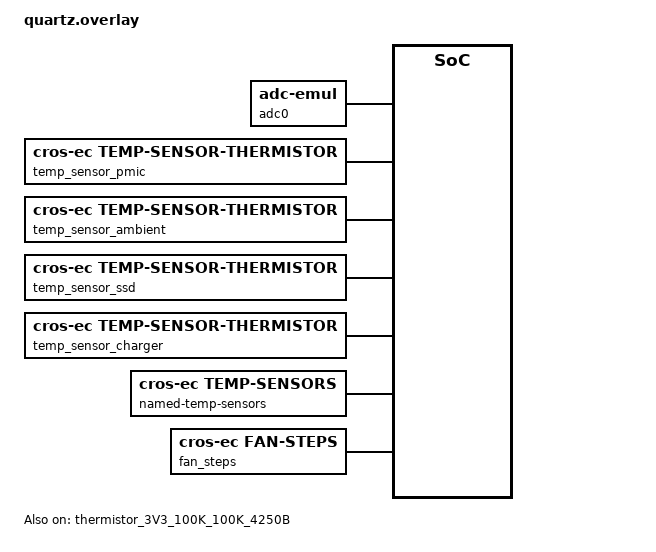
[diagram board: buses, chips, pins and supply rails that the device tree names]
/* Copyright 2026 The ChromiumOS Authors
 * Use of this source code is governed by a BSD-style license that can be
 * found in the LICENSE file.
 */

#include <board-overlays/native_sim.dts>
#include <cros/thermistor/thermistor.dtsi>
#include <dt-bindings/gpio_defines.h>

/ {
	named-gpios {
		compatible = "named-gpios";

		gpio_ec_en_pp5000_s5: ec_en_pp5000_s5 {
			gpios = <&gpio0 0 (GPIO_OUTPUT | GPIO_INPUT)>;
		};
		gpio_haptic_en_ec: haptic_en_ec {
			gpios = <&gpio0 1 (GPIO_OUTPUT | GPIO_INPUT)>;
		};
		gpio_tpad_en: tpad_en {
			gpios = <&gpio0 2 (GPIO_OUTPUT | GPIO_INPUT)>;
		};
		gpio_bl_off_odl: bl_off_odl {
			gpios = <&gpio0 3 (GPIO_OUTPUT | GPIO_INPUT)>;
		};
		gpio_ec_en_pp5000_fan: ec_en_pp5000_fan {
			gpios = <&gpio0 4 (GPIO_OUTPUT | GPIO_INPUT)>;
		};
		gpio_ec_enavdd_oled: ec_enavdd_oled {
			gpios = <&gpio0 5 (GPIO_OUTPUT | GPIO_INPUT)>;
		};
		gpio_sys_throttle_mira: sys_throttle_mira {
			gpios = <&gpio0 6 (GPIO_OUTPUT | GPIO_INPUT)>;
		};
		gpio_ec_en_pp3300_s3: ec_en_pp3300_s3 {
			gpios = <&gpio0 7 (GPIO_OUTPUT | GPIO_INPUT)>;
		};
		gpio_pp1800_l1i_s3_ec: pp1800_l1i_s3_ec {
			gpios = <&gpio0 8 (GPIO_OUTPUT | GPIO_INPUT)>;
		};
		gpio_smb2360_a_chg_led_pg_odl: smb2360_a_chg_led_pg_odl {
			gpios = <&gpio0 9 (GPIO_INPUT | GPIO_ACTIVE_LOW)>;
		};
		gpio_smb2360_b_chg_led_pg_odl: smb2360_b_chg_led_pg_odl {
			gpios = <&gpio0 10 (GPIO_INPUT | GPIO_ACTIVE_LOW)>;
		};
	};

	gpio-interrupts {
		compatible = "cros-ec,gpio-interrupts";

		int_s3_power_monitor: s3_power_monitor {
			irq-pin = <&gpio_pp1800_l1i_s3_ec>;
			flags = <GPIO_INT_EDGE_BOTH>;
			handler = "s3_power_interrupt";
		};
		int_extpower_a: extpower_a {
			irq-pin = <&gpio_smb2360_a_chg_led_pg_odl>;
			flags = <GPIO_INT_EDGE_BOTH>;
			handler = "extpower_interrupt";
		};
		int_extpower_b: extpower_b {
			irq-pin = <&gpio_smb2360_b_chg_led_pg_odl>;
			flags = <GPIO_INT_EDGE_BOTH>;
			handler = "extpower_interrupt";
		};
	};

	adc0: adc {
		compatible = "zephyr,adc-emul";
		nchannels = <4>;
		ref-internal-mv = <3300>;
		#io-channel-cells = <1>;
		status = "okay";
	};

	named-adc-channels {
		compatible = "named-adc-channels";

		adc_temp_pmic: pmic {
			enum-name = "ADC_TEMP_SENSOR_1";
			io-channels = <&adc0 0>;
		};
		adc_temp_ambient: ambient {
			enum-name = "ADC_TEMP_SENSOR_2";
			io-channels = <&adc0 1>;
		};
		adc_temp_ssd: ssd {
			enum-name = "ADC_TEMP_SENSOR_3";
			io-channels = <&adc0 2>;
		};
		adc_temp_charger: charger {
			enum-name = "ADC_TEMP_SENSOR_4";
			io-channels = <&adc0 3>;
		};
	};

	temp_sensor_pmic: pmic {
		compatible = "cros-ec,temp-sensor-thermistor";
		thermistor = <&thermistor_3V3_100K_100K_4250B>;
		adc = <&adc_temp_pmic>;
	};
	temp_sensor_ambient: ambient {
		compatible = "cros-ec,temp-sensor-thermistor";
		thermistor = <&thermistor_3V3_100K_100K_4250B>;
		adc = <&adc_temp_ambient>;
	};
	temp_sensor_ssd: ssd {
		compatible = "cros-ec,temp-sensor-thermistor";
		thermistor = <&thermistor_3V3_100K_100K_4250B>;
		adc = <&adc_temp_ssd>;
	};
	temp_sensor_charger: charger {
		compatible = "cros-ec,temp-sensor-thermistor";
		thermistor = <&thermistor_3V3_100K_100K_4250B>;
		adc = <&adc_temp_charger>;
	};

	named-temp-sensors {
		compatible = "cros-ec,temp-sensors";
		temp_pmic: pmic {
			sensor = <&temp_sensor_pmic>;
		};
		temp_ambient: ambient {
			sensor = <&temp_sensor_ambient>;
		};
		temp_ssd: ssd {
			sensor = <&temp_sensor_ssd>;
		};
		temp_charger: charger {
			sensor = <&temp_sensor_charger>;
		};
	};

	fan_steps: fan-steps {
		compatible = "cros-ec,fan-steps";
		level_0 {
			temp-on = <42 0 46 55>;
			temp-off = <99 0 99 99>;
			rpm-target = <0 0>;
		};
		level_1 {
			temp-on = <44 0 46 55>;
			temp-off = <39 0 99 99>;
			rpm-target = <2700 3100>;
		};
		level_2 {
			temp-on = <46 0 46 55>;
			temp-off = <41 0 99 99>;
			rpm-target = <3700 3200>;
		};
		level_3 {
			temp-on = <48 0 46 55>;
			temp-off = <43 0 99 99>;
			rpm-target = <4200 3800>;
		};
		level_4 {
			temp-on = <50 0 46 55>;
			temp-off = <45 0 99 99>;
			rpm-target = <4700 4200>;
		};
		level_5 {
			temp-on = <52 0 48 57>;
			temp-off = <47 0 41 52>;
			rpm-target = <5000 4700>;
		};
		level_6 {
			temp-on = <99 0 99 99>;
			temp-off = <49 0 43 54>;
			rpm-target = <6000 5000>;
		};
	};
};

&thermistor_3V3_100K_100K_4250B {
	status = "okay";
};
